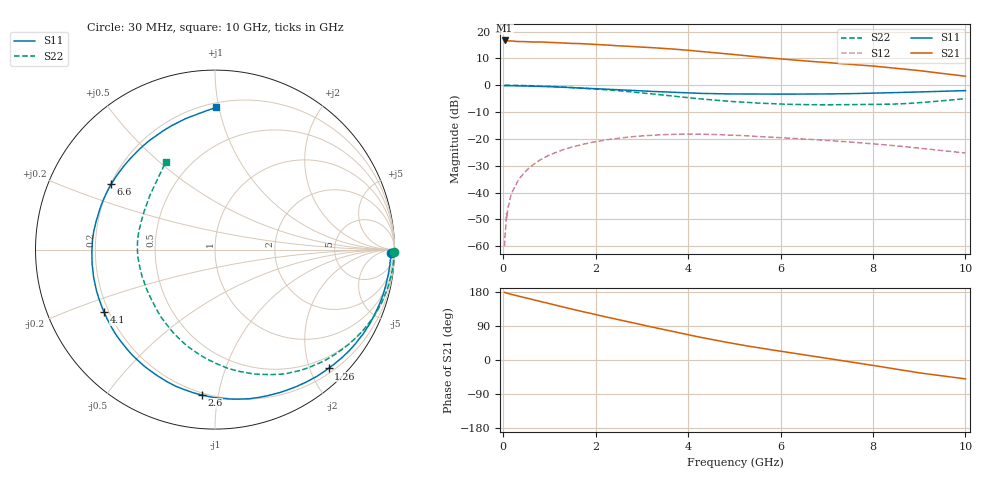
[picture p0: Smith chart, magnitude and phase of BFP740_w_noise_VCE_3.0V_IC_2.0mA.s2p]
! Infineon Technologies  Discrete & RF Semiconductors
! BFP740
! VCE =  3.0 V,  IC =  2.0 mA
! Common Emitter S-Parameters:  Jan 2016
# GHz  S  MA  R  50
!  f  S11  S21  S12  S22
! GHz  MAG  ANG  MAG  ANG  MAG  ANG  MAG  ANG
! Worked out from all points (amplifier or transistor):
!   229 points, 30 MHz to 10 GHz, reference 50 ohm
!   highest |S21| = 16.7 dB at 30 MHz (marker M1)
!   |S21| within 3 dB of that: start of sweep to 3.513 GHz
!   unconditionally stable (mu >= 1): 8.541 GHz to end of sweep
!   at 280 MHz: K = 0.06, MSG = 26.6 dB, |S12| = -36.8 dB
!   at 1.78 GHz: K = 0.17, MSG = 18.6 dB, |S12| = -21.8 dB
!   at 10 GHz: K = 1.31, MAG = 11.0 dB, |S12| = -25.3 dB
!   lowest NFmin = 0.46 dB at 450 MHz
!   S11 on the Smith chart (normalised r, x): 30 MHz: 48, -49; 1.26 GHz: 0.28, -2.31; 2.6 GHz: 0.19, -0.89; 4.1 GHz: 0.18, -0.26; 6.6 GHz: 0.20, +0.28; 10 GHz: 0.23, +0.98
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0.03  0.98 -1.2  6.81 178.3  0.001 89.9  0.9989 -0.8
0.04  0.9804 -1.5  6.596 177.9  0.0017 80.5  0.9992 -1.1
0.07  0.9804 -2.6  6.672 176.9  0.0041 91.0  0.9997 -1.8
0.08  0.9807 -3.0  6.673 176.5  0.0033 93.1  0.9984 -2.1
0.155  0.9774 -5.8  6.687 173.9  0.0082 83.9  0.9969 -4.0
0.3  0.973 -11.1  6.521 169.3  0.0156 81.0  0.9929 -7.7
0.8  0.95 -29.4  6.382 154.4  0.0405 68.9  0.9668 -20.3
1.26  0.9155 -46.3  6.153 140.5  0.0611 56.8  0.9265 -31.9
1.7  0.8808 -62.3  5.933 128.1  0.0784 46.1  0.8816 -42.4
2.2  0.8443 -80.7  5.643 114.2  0.0948 34.1  0.8235 -54.8
2.6  0.8131 -95.3  5.383 103.6  0.1049 25.1  0.7721 -64.3
3.1  0.7738 -113.9  5.088 90.1  0.1148 14.2  0.7035 -76.5
3.4  0.7521 -125.0  4.883 82.3  0.119 7.8  0.6628 -84.2
4.1  0.7099 -150.5  4.39 64.2  0.1225 -6.8  0.5731 -102.5
4.6  0.6936 -167.2  4.011 52.0  0.1201 -15.9  0.524 -114.9
5.1  0.6847 178.3  3.651 40.9  0.1155 -23.9  0.487 -126.2
5.8  0.6796 162.8  3.186 26.9  0.1074 -33.3  0.4521 -141.0
6.6  0.6833 147.8  2.806 12.0  0.0983 -42.0  0.4332 -159.6
6.8  0.685 144.1  2.717 8.3  0.0958 -43.9  0.4307 -164.4
8.4  0.7233 113.0  2.112 -22.2  0.0754 -56.9  0.4425 156.4
9  0.7488 102.3  1.867 -33.9  0.0671 -60.2  0.472 140.3
10  0.7922 89.4  1.468 -49.8  0.0544 -58.9  0.5615 119.1
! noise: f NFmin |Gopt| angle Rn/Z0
0.45  0.46  0.57  13  0.36
0.9  0.48  0.58  20  0.35
1.5  0.55  0.56  30  0.33
1.9  0.59  0.53  44  0.32
2.4  0.63  0.53  51  0.31
3.5  0.77  0.49  75  0.29
5.5  1.07  0.36  151  0.25
10  1.84  0.61  -89  0.34
